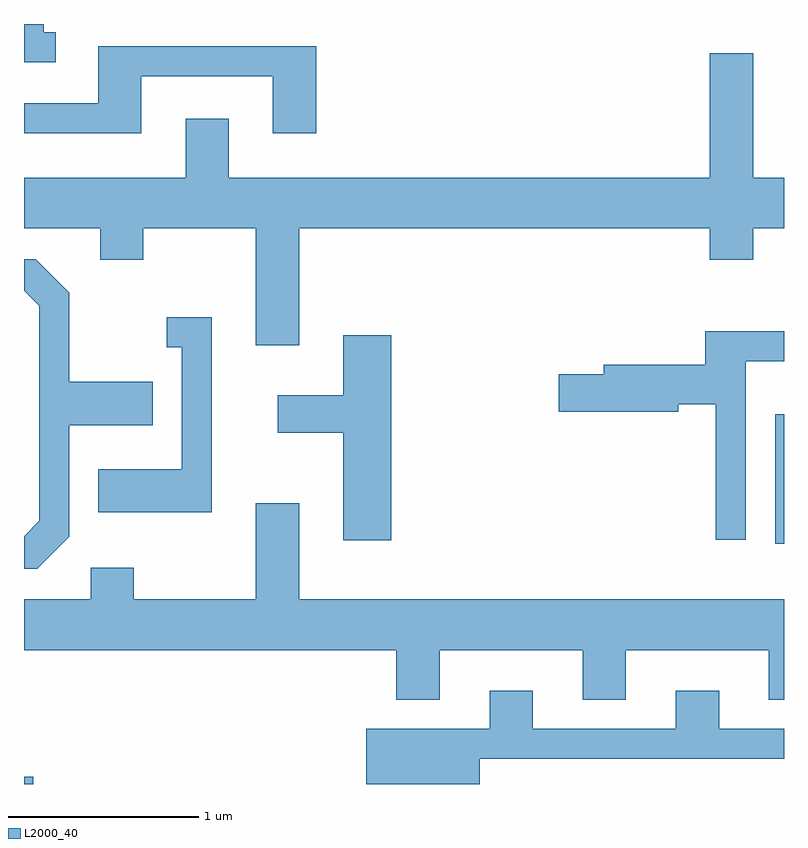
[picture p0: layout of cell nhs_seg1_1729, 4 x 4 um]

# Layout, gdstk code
import gdstk
lib = gdstk.Library(unit=1e-6, precision=1e-09)
def R(c, l, rs):  # rectangles x0, y0, x1, y1
    for r in rs: c.add(gdstk.rectangle(r[:2], r[2:], *l))
def P(c, l, *ps):  # polygons
    for p in ps: c.add(gdstk.Polygon(p, *l))
L2000_40 = (2000, 40)

nhs_seg1_1729 = lib.new_cell('nhs_seg1_1729')
R(nhs_seg1_1729, L2000_40, [(237.611,947.712,237.659,947.749), (241.566,948.976,241.611,949.659)])
P(nhs_seg1_1729, L2000_40, [(237.778,951.669),(237.714,951.669),(237.714,951.712),(237.611,951.712),(237.611,951.511),(237.778,951.511)],
  [(238.229,951.436),(238.921,951.436),(238.921,951.136),(239.149,951.136),(239.149,951.594),(238.001,951.594),(238.001,951.294),(237.611,951.294),(237.611,951.136),(238.229,951.136)],
  [(239.059,950.636),(241.221,950.636),(241.221,950.471),(241.449,950.471),(241.449,950.636),(241.611,950.636),(241.611,950.904),(241.449,950.904),(241.449,951.559),(241.221,951.559),(241.221,950.904),(238.689,950.904),(238.689,951.214),(238.461,951.214),(238.461,950.904),(237.611,950.904),(237.611,950.636),(238.011,950.636),(238.011,950.471),(238.239,950.471),(238.239,950.636),(238.831,950.636),(238.831,950.021),(239.059,950.021)],
  [(237.849,949.014),(237.849,949.601),(238.289,949.601),(238.289,949.829),(237.849,949.829),(237.849,950.297),(237.672,950.474),(237.611,950.474),(237.611,950.309),(237.691,950.229),(237.691,949.097),(237.611,949.016),(237.611,948.846),(237.682,948.846)],
  [(238.599,950.169),(238.363,950.169),(238.363,950.011),(238.441,950.011),(238.441,949.369),(238.001,949.369),(238.001,949.141),(238.599,949.141)],
  [(241.409,949.936),(241.611,949.936),(241.611,950.094),(241.196,950.094),(241.196,949.919),(240.661,949.919),(240.661,949.869),(240.426,949.869),(240.426,949.671),(241.054,949.671),(241.054,949.711),(241.251,949.711),(241.251,948.998),(241.409,948.998)],
  [(239.544,950.074),(239.291,950.074),(239.291,949.759),(238.946,949.759),(238.946,949.561),(239.291,949.561),(239.291,948.996),(239.544,948.996)],
  [(239.799,948.416),(240.551,948.416),(240.551,948.156),(240.779,948.156),(240.779,948.416),(241.531,948.416),(241.531,948.156),(241.611,948.156),(241.611,948.684),(239.059,948.684),(239.059,949.189),(238.831,949.189),(238.831,948.684),(238.189,948.684),(238.189,948.849),(237.961,948.849),(237.961,948.684),(237.611,948.684),(237.611,948.416),(239.571,948.416),(239.571,948.156),(239.799,948.156)],
  [(240.009,947.846),(241.611,947.846),(241.611,948.004),(241.269,948.004),(241.269,948.204),(241.041,948.204),(241.041,948.004),(240.289,948.004),(240.289,948.204),(240.061,948.204),(240.061,948.004),(239.411,948.004),(239.411,947.712),(240.009,947.712)])

lib.write_gds('nhs_seg1_1729.gds')
